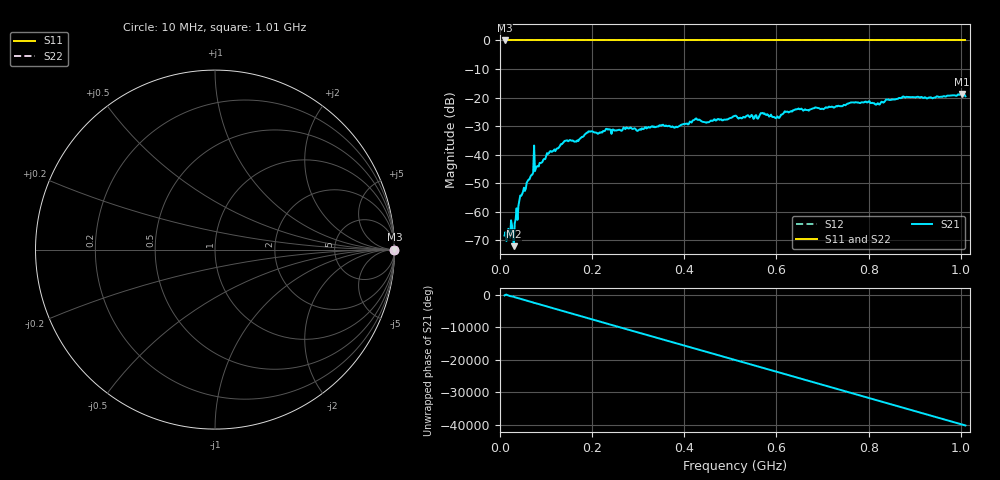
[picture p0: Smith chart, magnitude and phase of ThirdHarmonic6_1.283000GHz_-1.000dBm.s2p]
! 8/16/2025 1:58:51 PM
! C:\ANRITSUVNA\TEMP\TEMP.S2P
! CHANNEL.1
! TR.MEASUREMENT
! RAW.DATA
! RF.CORRECTION.OFF
! AVERAGING.OFF
! IF.BANDWIDTH: 5KHZ
! SWEEPTYPE:  FREQ.SWEEP(Linear)
! Reference Plane Port Info
! PORT:  PORT1  PORT2
! DISTANCE:  0  m  0  m
! TIME:  0  s  0  s
! PHASE.OFFSET:  0  deg.  0  deg.
! LOSS:  0  dB  0  dB
! REF.LOSS:  0  dB  0  dB
! REF.FREQ:  0  Hz  0  Hz
! Power Info
! POWER:  -20  dBm  -20  dBm
! EFF.POWER:  -20  dBm  -20  dBm
! SOURCE.ATTEN:  0  dB  0  dB
! TEST.ATTEN:  0  dB  0  dB
# GHZ S RI R 50.0
! FREQ.GHZ  S11RE  S11IM  S21RE  S21IM  S12RE  S12IM  S22RE  S22IM
!; PortSelection: Port_12
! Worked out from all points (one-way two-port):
!   501 points, 10 MHz to 1.01 GHz, reference 50 ohm
!   highest |S21| = -18.72 dB at 1.002 GHz (marker M1); lowest = -72.1 dB at 30 MHz (marker M2)
!   lowest |S11| = 0.0 dB at 10 MHz (marker M3)
!   |S11| at or under -10 dB: nowhere
!   |S22| runs from 0.0 to 0.0 dB; largest |S21 - S12| = 1.1
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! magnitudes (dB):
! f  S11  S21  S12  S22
! 10 MHz  0.0  -68.3  0.0  0.0
! 22 MHz  0.0  -69.1  0.0  0.0
! 30 MHz  0.0  -72.1  0.0  0.0
! 46 MHz  0.0  -54.5  0.0  0.0
! 78 MHz  0.0  -44.7  0.0  0.0
! 80 MHz  0.0  -44.2  0.0  0.0
! 106 MHz  0.0  -39.5  0.0  0.0
! 142 MHz  0.0  -35.2  0.0  0.0
! 178 MHz  0.0  -33.8  0.0  0.0
! 196 MHz  0.0  -31.9  0.0  0.0
! 344 MHz  0.0  -30.2  0.0  0.0
! 382 MHz  0.0  -30.2  0.0  0.0
! 424 MHz  0.0  -27.4  0.0  0.0
! 450 MHz  0.0  -28.6  0.0  0.0
! 510 MHz  0.0  -26.4  0.0  0.0
! 570 MHz  0.0  -25.4  0.0  0.0
! 602 MHz  0.0  -26.6  0.0  0.0
! 620 MHz  0.0  -25.0  0.0  0.0
! 678 MHz  0.0  -23.8  0.0  0.0
! 844 MHz  0.0  -20.8  0.0  0.0
! 1.002 GHz  0.0  -18.7  0.0  0.0
! 1.01 GHz  0.0  -19.6  0.0  0.0
